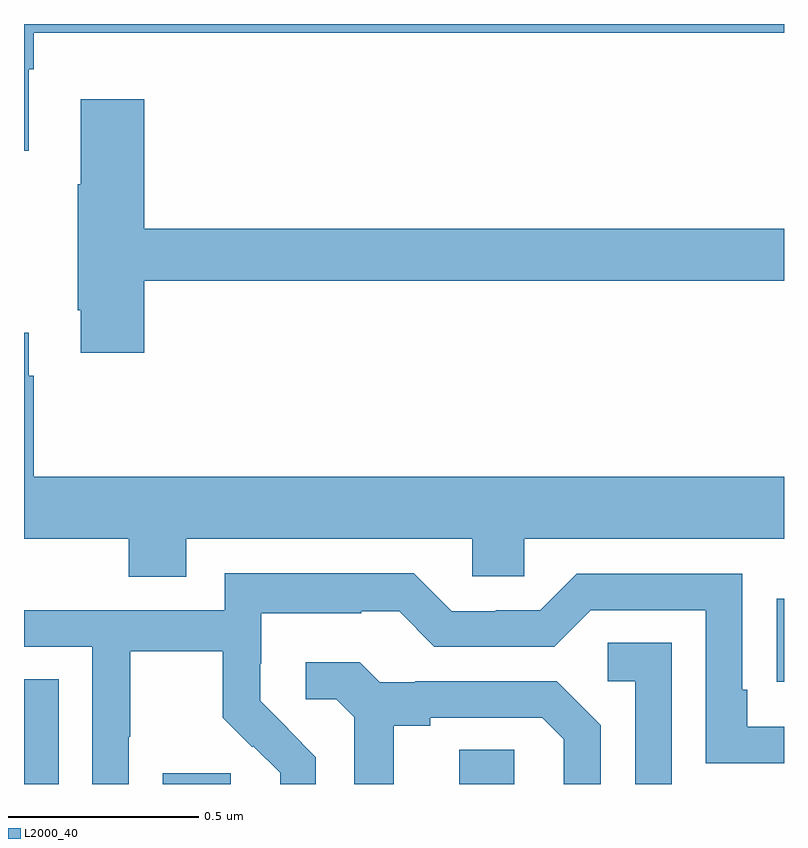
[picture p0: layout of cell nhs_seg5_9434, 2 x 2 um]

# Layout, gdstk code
import gdstk
lib = gdstk.Library(unit=1e-6, precision=1e-09)
def R(c, l, rs):  # rectangles x0, y0, x1, y1
    for r in rs: c.add(gdstk.rectangle(r[:2], r[2:], *l))
def P(c, l, *ps):  # polygons
    for p in ps: c.add(gdstk.Polygon(p, *l))
L2000_40 = (2000, 40)

nhs_seg5_9434 = lib.new_cell('nhs_seg5_9434')
R(nhs_seg5_9434, L2000_40, [(234,838.799,234.091,839.075), (234.365,838.799,234.544,838.827), (235.145,838.799,235.29,838.889), (235.981,839.068,236,839.287)])
P(nhs_seg5_9434, L2000_40, [(234.013,840.68),(234.026,840.68),(234.026,840.776),(236,840.776),(236,840.799),(234,840.799),(234,840.465),(234.013,840.465)],
  [(234.317,840.124),(236,840.124),(236,840.26),(234.317,840.26),(234.317,840.601),(234.149,840.601),(234.149,840.377),(234.142,840.377),(234.142,840.046),(234.149,840.046),(234.149,839.934),(234.317,839.934)],
  [(234.427,839.444),(235.179,839.444),(235.179,839.346),(235.317,839.346),(235.317,839.444),(236,839.444),(236,839.608),(234.026,839.608),(234.026,839.873),(234.013,839.873),(234.013,839.986),(234,839.986),(234,839.444),(234.275,839.444),(234.275,839.345),(234.427,839.345)],
  [(234.276,838.924),(234.279,838.924),(234.279,839.148),(234.523,839.148),(234.523,838.973),(234.6,838.896),(234.603,838.899),(234.674,838.829),(234.674,838.799),(234.768,838.799),(234.768,838.87),(234.695,838.943),(234.696,838.944),(234.622,839.018),(234.622,839.115),(234.624,839.115),(234.624,839.249),(234.887,839.249),(234.887,839.253),(234.987,839.253),(235.08,839.16),(235.395,839.16),(235.491,839.256),(235.794,839.256),(235.794,838.854),(236,838.854),(236,838.95),(235.903,838.95),(235.903,839.047),(235.89,839.047),(235.89,839.352),(235.455,839.352),(235.359,839.256),(235.241,839.256),(235.241,839.253),(235.125,839.253),(235.025,839.353),(234.528,839.353),(234.528,839.256),(234,839.256),(234,839.16),(234.18,839.16),(234.18,838.799),(234.276,838.799)],
  [(235.704,839.171),(235.536,839.171),(235.536,839.07),(235.608,839.07),(235.608,838.799),(235.704,838.799)],
  [(234.973,838.952),(235.069,838.952),(235.069,838.974),(235.364,838.974),(235.421,838.917),(235.421,838.799),(235.518,838.799),(235.518,838.954),(235.402,839.07),(235.03,839.07),(235.03,839.067),(234.936,839.067),(234.884,839.119),(234.741,839.119),(234.741,839.022),(234.822,839.022),(234.869,838.975),(234.869,838.799),(234.973,838.799)])

lib.write_gds('nhs_seg5_9434.gds')
